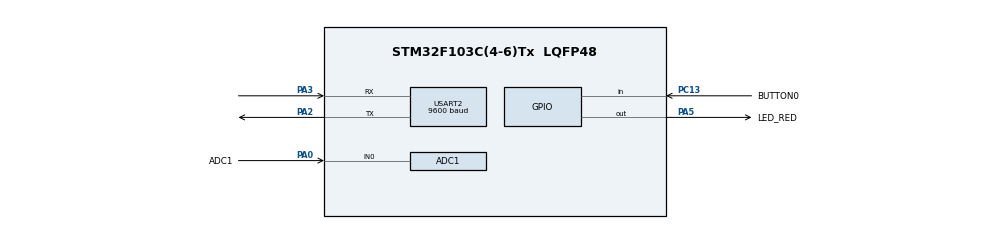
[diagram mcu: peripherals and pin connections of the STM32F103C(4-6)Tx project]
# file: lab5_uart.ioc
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ADC1.Channel-0\#ChannelRegularConversion=ADC_CHANNEL_0
ADC1.ContinuousConvMode=ENABLE
ADC1.NbrOfConversionFlag=1
ADC1.Rank-0\#ChannelRegularConversion=1
ADC1.SamplingTime-0\#ChannelRegularConversion=ADC_SAMPLETIME_1CYCLE_5
ADC1.master=1
Mcu.Family=STM32F1
Mcu.Name=STM32F103C(4-6)Tx
Mcu.Package=LQFP48
NVIC.PriorityGroup=NVIC_PRIORITYGROUP_4
NVIC.TIM2_IRQn=true\:0\:0\:false\:false\:true\:true\:true
NVIC.USART2_IRQn=true\:0\:0\:false\:false\:true\:true\:true
PA0-WKUP.GPIO_Label=ADC1
PA0-WKUP.Signal=ADCx_IN0
PA2.Mode=Asynchronous
PA2.Signal=USART2_TX
PA3.Mode=Asynchronous
PA3.Signal=USART2_RX
PA5.GPIO_Label=LED_RED
PA5.PinState=GPIO_PIN_RESET
PA5.Signal=GPIO_Output
PC13-TAMPER-RTC.GPIO_Label=BUTTON0
PC13-TAMPER-RTC.GPIO_PuPd=GPIO_PULLUP
PC13-TAMPER-RTC.Signal=GPIO_Input
ProjectManager.HeapSize=0x200
ProjectManager.StackSize=0x400
ProjectManager.TargetToolchain=STM32CubeIDE
RCC.APB1Freq_Value=8000000
RCC.APB2Freq_Value=8000000
SH.ADCx_IN0.0=ADC1_IN0,IN0
TIM2.Period=9
TIM2.Prescaler=7999
USART2.BaudRate=9600
USART2.VirtualMode=VM_ASYNC
VP_SYS_VS_ND.Mode=No_Debug
VP_TIM2_VS_ClockSourceINT.Mode=Internal
board=custom

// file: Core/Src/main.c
/* USER CODE BEGIN Header */
/**
  ******************************************************************************
  * @file           : main.c
  * @brief          : Main program body
  ******************************************************************************
  * @attention
  *
  * <h2><center>&copy; Copyright (c) 2023 STMicroelectronics.
  * All rights reserved.</center></h2>
  *
  * This software component is licensed by ST under BSD 3-Clause license,
  * the "License"; You may not use this file except in compliance with the
  * License. You may obtain a copy of the License at:
  *                        opensource.org/licenses/BSD-3-Clause
  *
  ******************************************************************************
  */
/* USER CODE END Header */
#include "main.h"

/* USER CODE BEGIN Includes */
#include "button.h"
#include "process_uart.h"
#include "software_timer.h"
/* USER CODE END Includes */

/* USER CODE BEGIN PD */

//#define DEBUG

/* USER CODE END PD */

ADC_HandleTypeDef hadc1;

TIM_HandleTypeDef htim2;

UART_HandleTypeDef huart2;

void SystemClock_Config(void);
static void MX_GPIO_Init(void);
static void MX_ADC1_Init(void);
static void MX_TIM2_Init(void);
static void MX_USART2_UART_Init(void);

/* USER CODE BEGIN 0 */
uint8_t character_data = 0, havingInput = 0;
void HAL_UART_RxCpltCallback(UART_HandleTypeDef *huart)
{
	if (huart->Instance == USART2)
	{
		HAL_UART_Transmit(&huart2, &character_data, 1, 50);
		HAL_UART_Receive_IT(&huart2, &character_data, 1);
		havingInput = 1;
	}
}

void toggle_led()
{
	HAL_GPIO_TogglePin(LED_RED_GPIO_Port, LED_RED_Pin);
}
/* USER CODE END 0 */

int main(void)
{

  /* MCU Configuration--------------------------------------------------------*/

  /* Reset of all peripherals, Initializes the Flash interface and the Systick. */
  HAL_Init();

  /* Configure the system clock */
  SystemClock_Config();

  /* Initialize all configured peripherals */
  MX_GPIO_Init();
  MX_ADC1_Init();
  MX_TIM2_Init();
  MX_USART2_UART_Init();
  /* USER CODE BEGIN 2 */
  HAL_ADC_Start(&hadc1);
  HAL_TIM_Base_Start_IT(&htim2);
  /* USER CODE END 2 */

  /* Infinite loop */
  /* USER CODE BEGIN WHILE */
  init_button_state();
  init_uart();
  set_timer(0, 2);	// print ADC value
  set_timer(1, 2);	// blink led red
  set_timer(2, 1);	// delay for OK command

  havingInput = 0;
  HAL_UART_Receive_IT(&huart2, &character_data, 1);

  while (1)
  {
	  if (get_flag(1))
	  {
	  	  set_timer(1, 50);
	  	  HAL_GPIO_TogglePin(LED_RED_GPIO_Port, LED_RED_Pin);
	  }

	  if (havingInput)
	  {
		  get_input(character_data);
		  proccess_buffer();
#ifdef DEBUG
		  uint8_t temp[MAX_BUFFER];
		  HAL_UART_Transmit(&huart2, (uint8_t *)temp, sprintf(temp, "\r processing\r state = %d\r RST = %d\r", get_state(), isRST()), 50);
#endif
		  havingInput = 0;
	  }

	  if (isRST() == 1 && get_state() != 0)
	  {
		  set_timer(2, 300);
	  }

	  if (isRST() && get_flag(0) && get_flag(2))
	  {
		  set_timer(0, 50);
		  uint32_t ADC_value = HAL_ADC_GetValue(&hadc1);
		  uint8_t str[MAX_BUFFER];
//		  HAL_UART_Transmit(&huart2, (uint8_t *)str, sprintf(str, "!ADC = %.3f#\r", (ADC_value * 5.0) / 4095), 50);
		  HAL_UART_Transmit(&huart2, (uint8_t *)str, sprintf(str, "!ADC = %ld#\r", ADC_value), 50);
		  }

    /* USER CODE END WHILE */

  }
}

void SystemClock_Config(void)
{
  RCC_OscInitTypeDef RCC_OscInitStruct = {0};
  RCC_ClkInitTypeDef RCC_ClkInitStruct = {0};
  RCC_PeriphCLKInitTypeDef PeriphClkInit = {0};

  /** Initializes the RCC Oscillators according to the specified parameters
  * in the RCC_OscInitTypeDef structure.
  */
  RCC_OscInitStruct.OscillatorType = RCC_OSCILLATORTYPE_HSI;
  RCC_OscInitStruct.HSIState = RCC_HSI_ON;
  RCC_OscInitStruct.HSICalibrationValue = RCC_HSICALIBRATION_DEFAULT;
  RCC_OscInitStruct.PLL.PLLState = RCC_PLL_NONE;
  if (HAL_RCC_OscConfig(&RCC_OscInitStruct) != HAL_OK)
  {
    Error_Handler();
  }
  /** Initializes the CPU, AHB and APB buses clocks
  */
  RCC_ClkInitStruct.ClockType = RCC_CLOCKTYPE_HCLK|RCC_CLOCKTYPE_SYSCLK
                              |RCC_CLOCKTYPE_PCLK1|RCC_CLOCKTYPE_PCLK2;
  RCC_ClkInitStruct.SYSCLKSource = RCC_SYSCLKSOURCE_HSI;
  RCC_ClkInitStruct.AHBCLKDivider = RCC_SYSCLK_DIV1;
  RCC_ClkInitStruct.APB1CLKDivider = RCC_HCLK_DIV1;
  RCC_ClkInitStruct.APB2CLKDivider = RCC_HCLK_DIV1;

  if (HAL_RCC_ClockConfig(&RCC_ClkInitStruct, FLASH_LATENCY_0) != HAL_OK)
  {
    Error_Handler();
  }
  PeriphClkInit.PeriphClockSelection = RCC_PERIPHCLK_ADC;
  PeriphClkInit.AdcClockSelection = RCC_ADCPCLK2_DIV2;
  if (HAL_RCCEx_PeriphCLKConfig(&PeriphClkInit) != HAL_OK)
  {
    Error_Handler();
  }
}

static void MX_ADC1_Init(void)
{

  ADC_ChannelConfTypeDef sConfig = {0};

  /** Common config
  */
  hadc1.Instance = ADC1;
  hadc1.Init.ScanConvMode = ADC_SCAN_DISABLE;
  hadc1.Init.ContinuousConvMode = ENABLE;
  hadc1.Init.DiscontinuousConvMode = DISABLE;
  hadc1.Init.ExternalTrigConv = ADC_SOFTWARE_START;
  hadc1.Init.DataAlign = ADC_DATAALIGN_RIGHT;
  hadc1.Init.NbrOfConversion = 1;
  if (HAL_ADC_Init(&hadc1) != HAL_OK)
  {
    Error_Handler();
  }
  /** Configure Regular Channel
  */
  sConfig.Channel = ADC_CHANNEL_0;
  sConfig.Rank = ADC_REGULAR_RANK_1;
  sConfig.SamplingTime = ADC_SAMPLETIME_1CYCLE_5;
  if (HAL_ADC_ConfigChannel(&hadc1, &sConfig) != HAL_OK)
  {
    Error_Handler();
  }

}

static void MX_TIM2_Init(void)
{

  TIM_ClockConfigTypeDef sClockSourceConfig = {0};
  TIM_MasterConfigTypeDef sMasterConfig = {0};

  htim2.Instance = TIM2;
  htim2.Init.Prescaler = 7999;
  htim2.Init.CounterMode = TIM_COUNTERMODE_UP;
  htim2.Init.Period = 9;
  htim2.Init.ClockDivision = TIM_CLOCKDIVISION_DIV1;
  htim2.Init.AutoReloadPreload = TIM_AUTORELOAD_PRELOAD_DISABLE;
  if (HAL_TIM_Base_Init(&htim2) != HAL_OK)
  {
    Error_Handler();
  }
  sClockSourceConfig.ClockSource = TIM_CLOCKSOURCE_INTERNAL;
  if (HAL_TIM_ConfigClockSource(&htim2, &sClockSourceConfig) != HAL_OK)
  {
    Error_Handler();
  }
  sMasterConfig.MasterOutputTrigger = TIM_TRGO_RESET;
  sMasterConfig.MasterSlaveMode = TIM_MASTERSLAVEMODE_DISABLE;
  if (HAL_TIMEx_MasterConfigSynchronization(&htim2, &sMasterConfig) != HAL_OK)
  {
    Error_Handler();
  }

}

static void MX_USART2_UART_Init(void)
{

  huart2.Instance = USART2;
  huart2.Init.BaudRate = 9600;
  huart2.Init.WordLength = UART_WORDLENGTH_8B;
  huart2.Init.StopBits = UART_STOPBITS_1;
  huart2.Init.Parity = UART_PARITY_NONE;
  huart2.Init.Mode = UART_MODE_TX_RX;
  huart2.Init.HwFlowCtl = UART_HWCONTROL_NONE;
  huart2.Init.OverSampling = UART_OVERSAMPLING_16;
  if (HAL_UART_Init(&huart2) != HAL_OK)
  {
    Error_Handler();
  }

}

static void MX_GPIO_Init(void)
{
  GPIO_InitTypeDef GPIO_InitStruct = {0};

  /* GPIO Ports Clock Enable */
  __HAL_RCC_GPIOC_CLK_ENABLE();
  __HAL_RCC_GPIOA_CLK_ENABLE();

  /*Configure GPIO pin Output Level */
  HAL_GPIO_WritePin(LED_RED_GPIO_Port, LED_RED_Pin, GPIO_PIN_RESET);

  /*Configure GPIO pin : BUTTON0_Pin */
  GPIO_InitStruct.Pin = BUTTON0_Pin;
  GPIO_InitStruct.Mode = GPIO_MODE_INPUT;
  GPIO_InitStruct.Pull = GPIO_PULLUP;
  HAL_GPIO_Init(BUTTON0_GPIO_Port, &GPIO_InitStruct);

  /*Configure GPIO pin : LED_RED_Pin */
  GPIO_InitStruct.Pin = LED_RED_Pin;
  GPIO_InitStruct.Mode = GPIO_MODE_OUTPUT_PP;
  GPIO_InitStruct.Pull = GPIO_NOPULL;
  GPIO_InitStruct.Speed = GPIO_SPEED_FREQ_LOW;
  HAL_GPIO_Init(LED_RED_GPIO_Port, &GPIO_InitStruct);

}

/* USER CODE BEGIN 4 */
void HAL_TIM_PeriodElapsedCallback(TIM_HandleTypeDef *htim)
{
	getKey(0);
	run_timer(0);
	run_timer(1);
	run_timer(2);
}
/* USER CODE END 4 */

void Error_Handler(void)
{
  __disable_irq();
  while (1)
  {
  }
}

/************************ (C) COPYRIGHT STMicroelectronics *****END OF FILE****/
